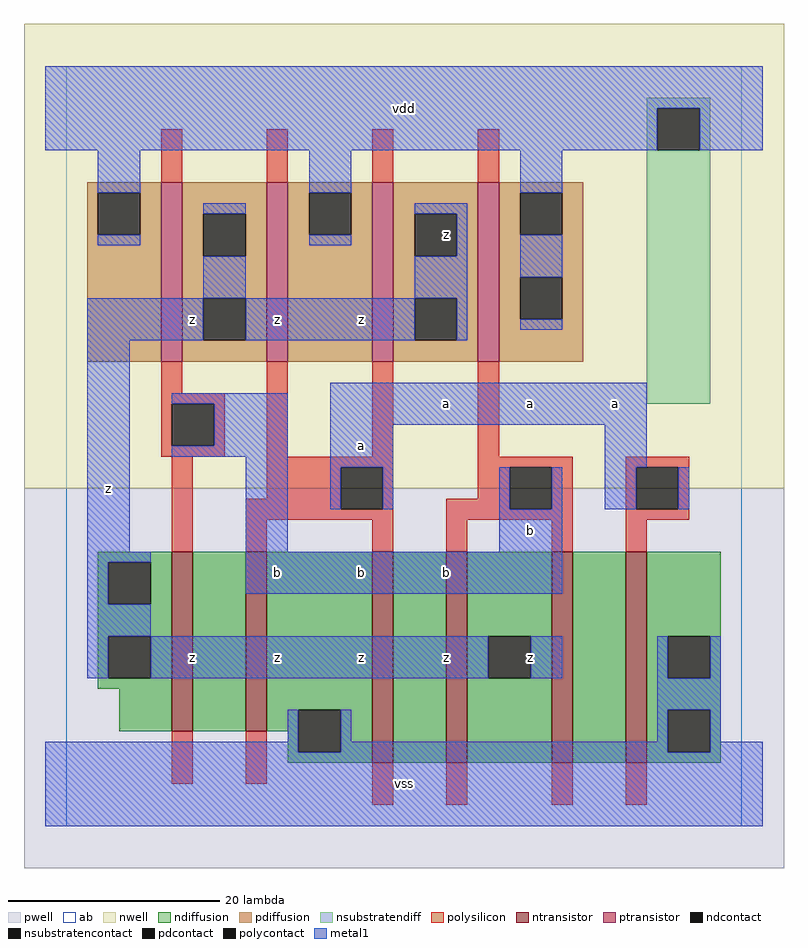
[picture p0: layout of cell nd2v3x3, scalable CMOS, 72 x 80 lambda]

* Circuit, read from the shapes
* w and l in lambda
.subckt nd2v3x3 a b vdd vss z
M1 n1 b z VSUBS nfet w=17 l=2
M2 vss a n1 VSUBS nfet w=17 l=2
M3 n2 a vss VSUBS nfet w=20 l=2
M4 z b n2 VSUBS nfet w=20 l=2
M5 n3 b z VSUBS nfet w=20 l=2
M6 vss a n3 VSUBS nfet w=20 l=2
M7 z b vdd vdd pfet w=17 l=2 m=2
M8 vdd a z vdd pfet w=17 l=2 m=2
.ends

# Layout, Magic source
magic
tech scmos
<< ab >>
rect 0 0 64 72
<< pwell >>
rect -4 -4 68 32
<< nwell >>
rect -4 32 68 76
<< polysilicon >>
rect 9 61 11 66
rect 19 61 21 66
rect 29 61 31 66
rect 39 61 41 66
rect 9 41 11 44
rect 9 40 15 41
rect 9 36 10 40
rect 14 36 15 40
rect 9 35 15 36
rect 19 35 21 44
rect 29 35 31 44
rect 10 26 12 35
rect 19 34 31 35
rect 19 31 26 34
rect 17 30 26 31
rect 30 30 31 34
rect 39 35 41 44
rect 39 34 48 35
rect 39 31 42 34
rect 17 29 31 30
rect 17 26 19 29
rect 29 26 31 29
rect 36 30 42 31
rect 46 30 48 34
rect 36 29 48 30
rect 36 26 38 29
rect 46 26 48 29
rect 53 34 59 35
rect 53 30 54 34
rect 58 30 59 34
rect 53 29 59 30
rect 53 26 55 29
rect 10 4 12 9
rect 17 4 19 9
rect 29 2 31 6
rect 36 2 38 6
rect 46 2 48 6
rect 53 2 55 6
<< ndiffusion >>
rect 3 25 10 26
rect 3 21 4 25
rect 8 21 10 25
rect 3 18 10 21
rect 3 14 4 18
rect 8 14 10 18
rect 3 13 10 14
rect 5 9 10 13
rect 12 9 17 26
rect 19 11 29 26
rect 19 9 22 11
rect 21 7 22 9
rect 26 7 29 11
rect 21 6 29 7
rect 31 6 36 26
rect 38 18 46 26
rect 38 14 40 18
rect 44 14 46 18
rect 38 6 46 14
rect 48 6 53 26
rect 55 18 62 26
rect 55 14 57 18
rect 61 14 62 18
rect 55 11 62 14
rect 55 7 57 11
rect 61 7 62 11
rect 55 6 62 7
<< pdiffusion >>
rect 2 60 9 61
rect 2 56 3 60
rect 7 56 9 60
rect 2 44 9 56
rect 11 58 19 61
rect 11 54 13 58
rect 17 54 19 58
rect 11 50 19 54
rect 11 46 13 50
rect 17 46 19 50
rect 11 44 19 46
rect 21 60 29 61
rect 21 56 23 60
rect 27 56 29 60
rect 21 44 29 56
rect 31 58 39 61
rect 31 54 33 58
rect 37 54 39 58
rect 31 50 39 54
rect 31 46 33 50
rect 37 46 39 50
rect 31 44 39 46
rect 41 60 49 61
rect 41 56 43 60
rect 47 56 49 60
rect 41 52 49 56
rect 41 48 43 52
rect 47 48 49 52
rect 41 44 49 48
<< metal1 >>
rect -2 68 66 72
rect -2 64 56 68
rect 60 64 66 68
rect 3 60 7 64
rect 23 60 27 64
rect 3 55 7 56
rect 13 58 17 59
rect 43 60 47 64
rect 23 55 27 56
rect 33 58 38 59
rect 13 50 17 54
rect 37 54 38 58
rect 33 50 38 54
rect 2 46 13 50
rect 17 46 33 50
rect 37 46 38 50
rect 43 52 47 56
rect 43 47 47 48
rect 2 26 6 46
rect 10 40 21 41
rect 14 36 21 40
rect 10 35 21 36
rect 17 26 21 35
rect 25 38 55 42
rect 25 34 31 38
rect 51 34 55 38
rect 25 30 26 34
rect 30 30 31 34
rect 41 30 42 34
rect 46 30 47 34
rect 51 30 54 34
rect 58 30 59 34
rect 41 26 47 30
rect 2 25 8 26
rect 2 21 4 25
rect 17 22 47 26
rect 2 18 8 21
rect 2 14 4 18
rect 8 14 40 18
rect 44 14 47 18
rect 56 14 57 18
rect 61 14 62 18
rect 56 11 62 14
rect 21 8 22 11
rect -2 7 22 8
rect 26 8 27 11
rect 56 8 57 11
rect 26 7 57 8
rect 61 8 62 11
rect 61 7 66 8
rect -2 0 66 7
<< ntransistor >>
rect 10 9 12 26
rect 17 9 19 26
rect 29 6 31 26
rect 36 6 38 26
rect 46 6 48 26
rect 53 6 55 26
<< ptransistor >>
rect 9 44 11 61
rect 19 44 21 61
rect 29 44 31 61
rect 39 44 41 61
<< polycontact >>
rect 10 36 14 40
rect 26 30 30 34
rect 42 30 46 34
rect 54 30 58 34
<< ndcontact >>
rect 4 21 8 25
rect 4 14 8 18
rect 22 7 26 11
rect 40 14 44 18
rect 57 14 61 18
rect 57 7 61 11
<< pdcontact >>
rect 3 56 7 60
rect 13 54 17 58
rect 13 46 17 50
rect 23 56 27 60
rect 33 54 37 58
rect 33 46 37 50
rect 43 56 47 60
rect 43 48 47 52
<< nsubstratencontact >>
rect 56 64 60 68
<< nsubstratendiff >>
rect 55 68 61 69
rect 55 64 56 68
rect 60 64 61 68
rect 55 40 61 64
<< labels >>
rlabel metal1 4 32 4 32 6 z
rlabel metal1 20 16 20 16 6 z
rlabel metal1 12 16 12 16 6 z
rlabel metal1 20 24 20 24 6 b
rlabel metal1 12 48 12 48 6 z
rlabel metal1 20 48 20 48 6 z
rlabel metal1 32 4 32 4 6 vss
rlabel metal1 36 16 36 16 6 z
rlabel metal1 28 16 28 16 6 z
rlabel metal1 28 24 28 24 6 b
rlabel metal1 36 24 36 24 6 b
rlabel metal1 28 36 28 36 6 a
rlabel metal1 36 40 36 40 6 a
rlabel metal1 28 48 28 48 6 z
rlabel pdcontact 36 56 36 56 6 z
rlabel metal1 32 68 32 68 6 vdd
rlabel metal1 44 16 44 16 6 z
rlabel metal1 44 28 44 28 6 b
rlabel metal1 44 40 44 40 6 a
rlabel metal1 52 40 52 40 6 a
<< end >>
